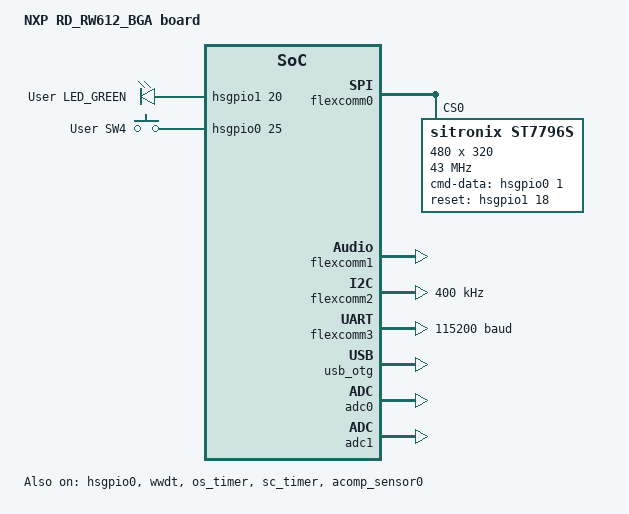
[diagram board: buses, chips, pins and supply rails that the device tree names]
/*
 * Copyright 2022 NXP
 *
 * SPDX-License-Identifier: Apache-2.0
 */

/dts-v1/;

#include <nxp/nxp_rw6xx.dtsi>
#include "rd_rw612_bga-pinctrl.dtsi"

/ {
	model = "NXP RD_RW612_BGA board";
	compatible = "nxp,rw612";

	aliases {
		usart-0 = &flexcomm3;
		led0 = &green_led;
		sw0 = &sw_4;
		watchdog0 = &wwdt;
		pwm-0 = &sc_timer;
	};

	chosen {
		zephyr,sram = &sram_data;
		zephyr,flash = &flash0;
		zephyr,code-partition = &code_partition;
		zephyr,console = &flexcomm3;
		zephyr,shell-uart = &flexcomm3;
		zephyr,display = &st7796s;
	};

	flash0: flash@18000000 {
		reg = <0x18000000 DT_SIZE_M(64)>;

		partitions {
			compatible = "fixed-partitions";
			#address-cells = <1>;
			#size-cells = <1>;

			code_partition: partition@0 {
				label = "application";
				reg = <0x0 DT_SIZE_M(4)>;
			};

			/* This partition is reserved for connectivity firmwares storage
			 * and shouldn't be moved.
			 */
			fw_storage: partition@400000 {
				label = "fw_storage";
				reg = <0x400000 0x280000>;
				read-only;
			};

			storage_partition: partition@680000 {
				label = "storage";
				reg = <0x680000 0x3980000>;
			};
		};
	};

	leds {
		compatible = "gpio-leds";
		green_led: led_1 {
			gpios = <&hsgpio1 20 0>;
			label = "User LED_GREEN";
		};
	};

	gpio_keys {
		compatible = "gpio-keys";
		sw_4: sw_4 {
			label = "User SW4";
			gpios = <&hsgpio0 25 0>;
		};
	};

	power-states {
		/* This is the setting for Idle Mode */
		idle: idle {
			compatible = "zephyr,power-state";
			power-state-name = "runtime-idle";
			min-residency-us = <0>;
			exit-latency-us = <0>;
		};
		/* This is the setting for Standby Mode */
		suspend: suspend {
			compatible = "nxp,pdcfg-power", "zephyr,power-state";
			power-state-name = "suspend-to-idle";
			/* TODO: Revisit latency numbers */
			min-residency-us = <500>;
			exit-latency-us = <120>;
			deep-sleep-config = <0x180000>,
						<0x0>,
						<0x4>,
						<0x100>,
						<0x0>;
		};
	};
};

&cpu0 {
	cpu-power-states = <&idle &suspend>;
};

&dma0 {
	status = "okay";
};

&flexcomm0 {
	compatible = "nxp,lpc-spi";
	pinctrl-0 = <&pinmux_flexcomm0_spi>;
	pinctrl-names = "default";
	status = "okay";
	#address-cells = <1>;
	#size-cells = <0>;
	/*
	 * Settings to connect this display:
	 * Populate JP19 to connect SPI
	 * Set JP30 to connect pins 1 and 2 (Connects SSEL0 to CS pin)
	 * Display can be connected to MikoBus header (J13/J11)
	 * Pin #1 | Signal | Header
	 * -------------------------------
	 * 1      | VDD    | J13.7 (+3.3V)
	 * 2      | RST    | J11.2 (INT)
	 * 3      | SDO    | J13.5 (MISO)
	 * 4      | CS     | J13.3 (CS)
	 * 5      | SCLK   | J13.4 (SCK)
	 * 6      | GND    | J13.8 (GND)
	 * 7      | MOSI   | J13.6 (MOSI)
	 * 8      | CD     | J11.1 (PWM)
	 *
	 * Pins 10 and 11 correspond to the backlight anode and cathode,
	 * and must be driven by an external circuit
	 */
	st7796s: st7796s@0 {
		compatible = "sitronix,st7796s";
		reg = <0>;
		spi-max-frequency = <43000000>;
		cmd-data-gpios = <&hsgpio0 1 GPIO_ACTIVE_HIGH>; /* MikroE_PWM */
		reset-gpios = <&hsgpio1 18 GPIO_ACTIVE_HIGH>; /* D8 */
		height = <320>;
		width = <480>;
		invert-mode = "1-dot";
		frmctl1 = [80 10];
		bpc = [1F 50 00 20];
		dfc = [8A 07 3B];
		pwr1 = [80 64];
		pwr2 = <0x13>;
		pwr3 = <0xA7>;
		vcmpctl = <0x09>;
		doca = [40 8A 00 00 29 19 A5 38];
		pgc = [F0 06 0B 07 06 05 2E 33 47 3A 17 16 2E 31];
		ngc = [F0 09 0D 09 08 23 2E 33 46 38 13 13 2C 32];
		madctl = <0x28>;
	};
};

&flexcomm1 {
	compatible = "nxp,lpc-i2s";
	status = "okay";
	#address-cells = <1>;
	#size-cells = <0>;
	pinctrl-0 = <&pinmux_flexcomm1_i2s>;
	pinctrl-names = "default";
};

&flexcomm2 {
	compatible = "nxp,lpc-i2c";
	status = "okay";
	clock-frequency = <I2C_BITRATE_FAST>;
	#address-cells = <1>;
	#size-cells = <0>;
	pinctrl-0 = <&pinmux_flexcomm2_i2c>;
	pinctrl-names = "default";
};

&flexcomm3 {
	compatible = "nxp,lpc-usart";
	status = "okay";
	current-speed = <115200>;
	pinctrl-0 = <&pinmux_flexcomm3_usart>;
	pinctrl-names = "default";
};

&hsgpio0 {
	status = "okay";
};

&wwdt {
	status = "okay";
};

/* OS Timer is the wakeup source for PM mode 2 */
&os_timer {
	status = "okay";
	wakeup-source;
};

zephyr_udc0: &usb_otg {
	status = "okay";
};

&adc0 {
	status = "okay";
};

&adc1 {
	status = "okay";
};

&sc_timer {
	status = "okay";
	pinctrl-0 = <&pinmux_pwm0>;
	pinctrl-names = "default";
};

&acomp_sensor0 {
	status = "okay";
	/* HD2 on the board, pin is labelled 42 in silk screen */
	nxp,pos-input = "CH0";
	nxp,neg-input = "VIO";
	nxp,vio-scaling-factor = <2>;
	nxp,bias-prog = "fast";
};
